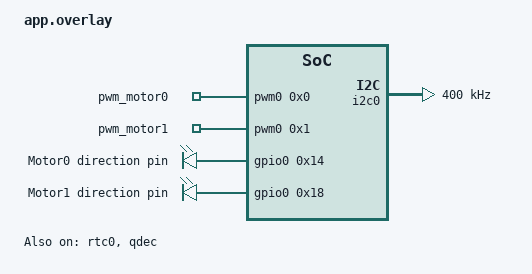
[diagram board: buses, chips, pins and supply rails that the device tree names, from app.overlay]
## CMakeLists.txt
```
#-------------------------------------------------------------------------------
# Zephyr Example Application
#
# Copyright (c) 2021 Nordic Semiconductor ASA
# SPDX-License-Identifier: Apache-2.0

cmake_minimum_required(VERSION 3.13.1)
find_package(Zephyr REQUIRED HINTS $ENV{ZEPHYR_BASE})

project(app LANGUAGES C)

# specify the C++ standard
set(CMAKE_CXX_STANDARD 11)
set(CMAKE_CXX_STANDARD_REQUIRED True)

# Controls logging in the NRFX PWM HAL (modules/hal/nordic/nrfx/drivers/src)
zephyr_compile_definitions(NRFX_PWM_CONFIG_LOG_ENABLED=0)
#zephyr_compile_definitions(NRFX_PWM_CONFIG_LOG_LEVEL=4)
# Controls logging in the NRFX QDEC HAL (modules/hal/nordic/nrfx/drivers/src)
#zephyr_compile_definitions(NRFX_QDEC_CONFIG_LOG_ENABLED=1)
#zephyr_compile_definitions(NRFX_QDEC_CONFIG_LOG_LEVEL=4)

# workaround for out-of-tree QDEC driver which ultimately relies on
# the existence of the define in this included file.
target_compile_options(drivers__pinctrl PRIVATE
        "-include"
	"$ENV{ZEPHYR_BASE}/../BalancingRobotZ/drivers/sensor/qdec_nrfx/qdec_pinctrl.h"
    )

add_subdirectory(src)

#target_include_directories(app PRIVATE ${ZEPHYR_BASE}/subsys/fs/nvs)
```

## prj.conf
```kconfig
# Copyright (c) 2021 Nordic Semiconductor ASA
# SPDX-License-Identifier: Apache-2.0
#
# This file contains selected Kconfig options for the application.

CONFIG_CPP=y
CONFIG_STD_CPP20=y
CONFIG_GLIBCXX_LIBCPP=y

# Controls the application logging
CONFIG_APP_LOG_LEVEL_DBG=y
# Controls the zephyr Sensor logging
CONFIG_SENSOR_LOG_LEVEL_DBG=y
#CONFIG_SENSOR_LOG_LEVEL_OFF=y

#CONFIG_HEAP_MEM_POOL_SIZE=2048

#CONFIG_FILE_SYSTEM=y
CONFIG_FLASH=y
CONFIG_NVS=y
#CONFIG_PM_PARTITION_SIZE_NVS_STORAGE=6000
#CONFIG_NRFX_NVMC_LOG=y
#CONFIG_NVS_LOG_LEVEL_DBG=y
#CONFIG_FLASH_LOG_LEVEL_DBG=y
CONFIG_MPU_ALLOW_FLASH_WRITE=y

# PWM
CONFIG_PWM=y
# Controls the zephyr driver logging 
# The NRFX PWM HAL logging is controlled in the CMakeLists.txt file of the app.
# See also: /home/doug/br_app/zephyr/modules/hal_nordic/nrfx/nrfx_log.h
CONFIG_PWM_LOG_LEVEL_OFF=y
#CONFIG_PWM_LOG_LEVEL_DBG=y

# Enable the NUS bluetooth service
CONFIG_BT=y
CONFIG_BT_PERIPHERAL=y
# Need this to compile, otherwise get undefined error for bt_nus_inst_send
# in zephyr/include/zephyr/bluetooth/services/nus.h
CONFIG_BT_ZEPHYR_NUS=y
#CONFIG_BT_ZEPHYR_NUS_DEFAULT_INSTANCE=n
#CONFIG_BT_SETTINGS_LOG_LEVEL_OFF=y
#CONFIG_BT_HCI_CORE_LOG_LEVEL_OFF=y

# Don't enforce subscription
CONFIG_BT_GATT_ENFORCE_SUBSCRIPTION=n
#CONFIG_BT_AUTO_PHY_UPDATE=n

# BT LOG debug
#CONFIG_BT_GATT_LOG_LEVEL_DBG=y
#CONFIG_BT_ATT_LOG_LEVEL_DBG=y
#CONFIG_BT_L2CAP_LOG_LEVEL_DBG=y
#CONFIG_BT_SETTINGS_LOG_LEVEL_DBG=y
#CONFIG_BT_HCI_CORE_LOG_LEVEL_DBG=y
#CONFIG_BT_CONN_LOG_LEVEL_DBG=y
#CONFIG_BT_HCI_DRIVER_LOG_LEVEL_DBG=y
#CONFIG_NET_BUF_LOG_LEVEL_DBG=y
#CONFIG_BT_L2CAP_LOG_LEVEL_DBG=y


#CONFIG_BT_UART=n
CONFIG_BT_DEVICE_NAME="AHRS"
#CONFIG_BT_MAX_CONN=1
#CONFIG_BT_MAX_PAIRED=1
#
# Enable the NUS service
#CONFIG_BT_NUS=y
#CONFIG_BT_NUS_LOG_LEVEL_OFF=y
#CONFIG_BT_NUS_LOG_LEVEL_DBG=y
# Enable bonding
#CONFIG_BT_SETTINGS=y
CONFIG_BT_DEBUG_MONITOR_UART=y

# millisecond boot delay
CONFIG_BOOT_DELAY=6000

# printk floating point support
CONFIG_CBPRINTF_FP_SUPPORT=y

#CONFIG_FLASH=y
#CONFIG_FLASH_PAGE_LAYOUT=y
#CONFIG_FLASH_MAP=y

# Enable DK LED and Buttons library
#CONFIG_DK_LIBRARY=y

# Include LSM6DSO / LIS3MDLZ driver
CONFIG_I2C=y
CONFIG_SENSOR=y
# UHP mode @155Hz has least noise
CONFIG_LIS3MDLZ_ODR="155"
CONFIG_LIS3MDLZ_FS=4

# QDEC
#CONFIG_NRFX_QDEC_LOG=y
#CONFIG_QDEC_LOG_LEVEL_DBG=y
#CONFIG_NRFX_QDEC_CONFIG_LOG_ENABLED=y
# // ./main.c:#define NRFX_EXAMPLE_CONFIG_LOG_LEVEL   3

# Run-time Type Identifier
CONFIG_CPP_RTTI=y

# This example requires more stack
CONFIG_MAIN_STACK_SIZE=4096
CONFIG_SYSTEM_WORKQUEUE_STACK_SIZE=2048
CONFIG_BT_RX_STACK_SIZE=4096

# Config logger
CONFIG_LOG=y
CONFIG_USE_SEGGER_RTT=y
CONFIG_LOG_BACKEND_RTT=y
CONFIG_LOG_BACKEND_UART=n
#CONFIG_LOG_PRINTK=n
# Set the background log process priority to allow it
# to send log messages.
CONFIG_LOG_PROCESS_THREAD_CUSTOM_PRIORITY=y
CONFIG_LOG_PROCESS_THREAD_PRIORITY=4

CONFIG_MAIN_THREAD_PRIORITY=4

CONFIG_CONSOLE=y
CONFIG_RTT_CONSOLE=y
CONFIG_UART_CONSOLE=n

CONFIG_ASSERT=y

# Disassembly
CONFIG_OUTPUT_DISASSEMBLY=y
CONFIG_OUTPUT_DISASSEMBLY_WITH_SOURCE=y
```

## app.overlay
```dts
#include "pinctrl.dtsi"

/ {
        chosen {
                zephyr,console = &rtt0;
        };

        rtt0: rtt_chan0 {
                compatible = "segger,rtt-uart";
                status = "okay";
        };
};

&i2c0 {
    compatible = "nordic,nrf-twim";
    clock-frequency = < 0x61A80 >;
};

&rtc0 {
    status = "okay";
};

&qdec {
    compatible = "nordic,nrf-qdecz";
    status = "okay";
    pinctrl-0 = <&qdec_default>;
    pinctrl-names = "default";
    led-pre = <0>;
    steps = <830>;
    reportper = "REPORTPER_160";
    sampleper = "SAMPLEPER_128US";
};

&lsm6ds3 {
    accel-pm = <0>;
    accel-range = <0>;
    accel-odr = <6>;
    accel-lpf2-enable;
    gyro-pm = <0>;
    gyro-range = <1>;
    gyro-odr = <6>;
    input-composite = <4>;
};

/delete-node/ &uart0;
/delete-node/ &uart1;
/delete-node/ &uart0_default;
/delete-node/ &uart0_sleep;

/ {
    aliases {
        /delete-property/ red-pwm-led;
        /delete-property/ green-pwm-led;
        /delete-property/ blue-pwm-led;
        /delete-property/ pwm-led0;
        /delete-property/ pwm-led1;
        /delete-property/ pwm-led2;

        motor0 = &pwm_motor0;
        motor1 = &pwm_motor1;
 
        motordir0 = &motor_aphase0;
        motordir1 = &motor_aphase1;
    };

    /delete-node/ pwmleds;

    pwm_motor {
        compatible = "pwm-leds";
        pwm_motor0: pwm_motor_0 {
            pwms = < &pwm0 0x0 0x1312d00 0x0 >;
        };
        pwm_motor1: pwm_motor_1 {
            pwms = < &pwm0 0x1 0x1312d00 0x0 >;
        };
    };

    motor_gpio {
        compatible = "gpio-leds";
        motor_aphase0: motor_aphase_0 {
            gpios = < &gpio0 0x14 GPIO_ACTIVE_HIGH >;
            label = "Motor0 direction pin";
        };
        motor_aphase1: motor_aphase_1 {
            gpios = < &gpio0 0x18 GPIO_ACTIVE_HIGH >;
            label = "Motor1 direction pin";
        };
    };

};
```

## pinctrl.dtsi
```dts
&pinctrl {
	i2c0_default: i2c0_default {
		group1 {
                        nordic,drive-mode = <NRF_DRIVE_S0D1>;
			psels = <NRF_PSEL(TWIM_SCL, 0, 13)>,
				<NRF_PSEL(TWIM_SDA, 0, 15)>;
		};
	};
	qdec_default: qdec_default {
		group1 {
			psels = <NRF_PSEL(QDEC_A, 1, 10)>,
				<NRF_PSEL(QDEC_B, 1, 13)>;
		};
	};
	qdec_sleep: qdec_sleep {
		group1 {
			psels = <NRF_PSEL(QDEC_A, 1, 10)>,
				<NRF_PSEL(QDEC_B, 1, 13)>;
			low-power-enable;
		};
	};
	pwm0_default: pwm0_default {
		group1 {
			psels = <NRF_PSEL(PWM_OUT0, 0, 17)>,
				<NRF_PSEL(PWM_OUT1, 0, 22)>;
                        /delete-property/ nordic,invert;
		};
	};
	pwm0_sleep: pwm0_sleep {
		group1 {
			psels = <NRF_PSEL(PWM_OUT0, 0, 17)>,
				<NRF_PSEL(PWM_OUT1, 0, 22)>;
		};
	};

};
```

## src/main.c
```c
/*
 * Copyright (c) 2021 Nordic Semiconductor ASA
 * SPDX-License-Identifier: Apache-2.0
 */

#include <zephyr/kernel.h>
#include <zephyr/logging/log.h>

#include <zephyr/drivers/gpio.h>
#include <app_version.h>

LOG_MODULE_REGISTER(main, CONFIG_APP_LOG_LEVEL);

/* The devicetree node identifier for the "led0" alias. */
/* led2 is the Green LED */
#define LED0_NODE DT_ALIAS(led2)
#define SLEEP_TIME_MS   1000

static const struct gpio_dt_spec led = GPIO_DT_SPEC_GET(LED0_NODE, gpios);

int main(void)
{
	int ret;
	bool led_state = true;

	if (!gpio_is_ready_dt(&led)) {
		return 0;
	}

	ret = gpio_pin_configure_dt(&led, GPIO_OUTPUT_ACTIVE);
	if (ret < 0) {
		return 0;
	}

	while (1) {
		ret = gpio_pin_toggle_dt(&led);
		if (ret < 0) {
			return 0;
		}

		led_state = !led_state;
		k_msleep(SLEEP_TIME_MS);
	}


	return 0;
}
```

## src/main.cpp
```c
/*
 * Copyright (c) 2021 Nordic Semiconductor ASA
 * SPDX-License-Identifier: Apache-2.0
 */

#include <zephyr/kernel.h>
#include <zephyr/logging/log.h>
#include <zephyr/drivers/gpio.h>
#include <app_version.h>

#include <zephyr/bluetooth/services/nus.h>

LOG_MODULE_REGISTER(main, CONFIG_APP_LOG_LEVEL);

#include "thread.h"

#include "ble_svcs.h"
#include "app_demux.h"
#include "param_store_ids.h"

#include "datalog.h"

/* The devicetree node identifier for the "led0" alias. */
/* led2 is the Green LED */
#define LED0_NODE DT_ALIAS(led2)
#define SLEEP_TIME_MS   2000
#define LED_THREAD_STACK_SIZE 2048

static const struct gpio_dt_spec led = GPIO_DT_SPEC_GET(LED0_NODE, gpios);

static const struct gpio_dt_spec button = GPIO_DT_SPEC_GET_OR(DT_ALIAS(sw0), gpios, {0});
static struct gpio_callback button_cb_data;

void button_pressed(const struct device *dev, struct gpio_callback *cb,
		    uint32_t pins)
{
#ifdef DATALOG_ENABLED
	datalog_trigger_dump();
#else
	LOG_DBG("Button pressed at %" PRIu32 "\n", k_cycle_get_32());
#endif
}

int main(void)
{
    int ret;

    LOG_INF("AHRS Started.\n");

    /* 
     * Setup and configure button
     */
    if (!gpio_is_ready_dt(&button)) 
    {
        LOG_ERR("Button device %s is not ready\n", button.port->name);
        return 1;
    }

    ret = gpio_pin_configure_dt(&button, GPIO_INPUT);
    if (ret != 0) {
        LOG_ERR("Error %d: failed to configure %s pin %d\n",
               ret, button.port->name, button.pin);
        return ret;
    }

    ret = gpio_pin_interrupt_configure_dt(&button,
                          GPIO_INT_EDGE_TO_ACTIVE);
    if (ret != 0) {
        LOG_ERR("Error %d: failed to configure interrupt on %s pin %d\n",
            ret, button.port->name, button.pin);
        return ret;
    }

    gpio_init_callback(&button_cb_data, button_pressed, BIT(button.pin));
    gpio_add_callback(button.port, &button_cb_data);

    /* 
     * Setup and configure BLE
     */
    ret = ble_svcs_init();
    if (ret < 0) {
	LOG_ERR("Failed to initialize BLE");
    	return 1;
    }

    ble_svcs_register(&appDemuxExecHandler);

    return 0;
}

void led_thread(void *, void *, void *)
{
    int ret;
    bool led_state = true;

    if (!gpio_is_ready_dt(&led)) {
	LOG_DBG("GPIO is not ready");
    	return;
    }

    ret = gpio_pin_configure_dt(&led, GPIO_OUTPUT_ACTIVE);
    if (ret < 0) {
	LOG_DBG("Failed to initialize GPIO");
    	return;
    }

    while (true) {
    	ret = gpio_pin_toggle_dt(&led);
    	if (ret < 0) {
	    LOG_DBG("Failed to toggle GPIO");
            return;
    	}

    	led_state = !led_state;
    	k_msleep(SLEEP_TIME_MS);
    }

}

K_THREAD_DEFINE(led_tid, LED_THREAD_STACK_SIZE,
                led_thread, NULL, NULL, NULL,
                LED_THREAD_PRIORITY, K_ESSENTIAL|K_FP_REGS, 0);
```
